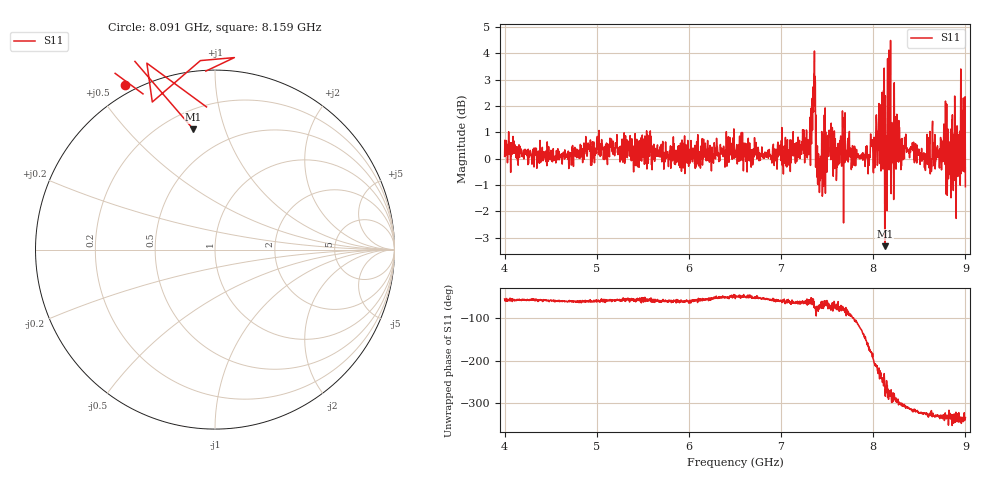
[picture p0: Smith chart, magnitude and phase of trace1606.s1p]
! Created with skrf 1.8.0 (http://scikit-rf.org).
# Hz S RI R 50.0
!freq ReS11 ImS11
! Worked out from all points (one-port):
!   1601 points, 4 GHz to 9 GHz, reference 50 ohm
!   lowest |S11| = -3.3 dB at 8.125 GHz (marker M1), VSWR 5.29, Z = 15.7 + j39.3 ohm
!   |S11| at or under -10 dB: nowhere
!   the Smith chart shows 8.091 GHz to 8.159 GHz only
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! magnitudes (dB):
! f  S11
! 4 GHz  0.1
! 4.625 GHz  -0.2
! 5.25 GHz  0.3
! 5.875 GHz  0.0
! 6.5 GHz  0.0
! 7.125 GHz  0.5
! 7.306 GHz  0.5
! 7.347 GHz  2.7
! 7.369 GHz  3.1
! 7.4 GHz  0.1
! 7.412 GHz  0.0
! 7.534 GHz  0.8
! 7.591 GHz  0.3
! 7.65 GHz  0.8
! 7.75 GHz  0.1
! 7.934 GHz  0.3
! 8.066 GHz  0.6
! 8.097 GHz  0.5
! 8.125 GHz  -3.3
! 8.178 GHz  2.1
! 8.216 GHz  0.6
! 8.375 GHz  0.3
! 8.553 GHz  0.2
! 8.775 GHz  0.8
! 8.825 GHz  0.2
! 8.919 GHz  -0.7
! 8.972 GHz  0.2
! 9 GHz  -1.1
